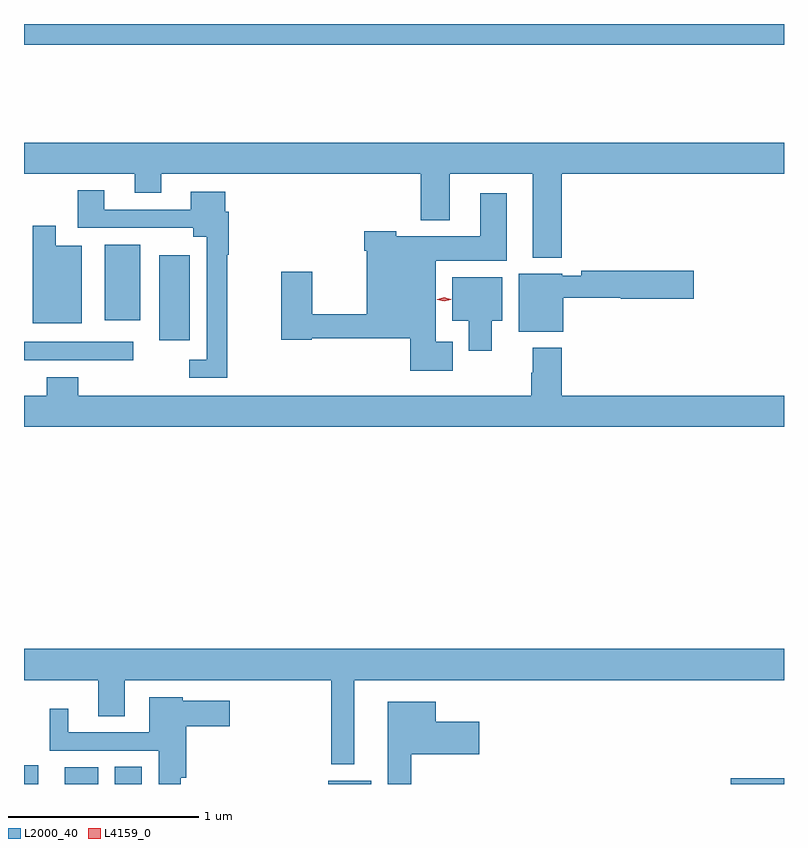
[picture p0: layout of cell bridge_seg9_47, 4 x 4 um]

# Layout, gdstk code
import gdstk
lib = gdstk.Library(unit=1e-6, precision=1e-09)
def R(c, l, rs):  # rectangles x0, y0, x1, y1
    for r in rs: c.add(gdstk.rectangle(r[:2], r[2:], *l))
def P(c, l, *ps):  # polygons
    for p in ps: c.add(gdstk.Polygon(p, *l))
L2000_40 = (2000, 40)
L4159_0 = (4159, 0)

bridge_seg9_47 = lib.new_cell('bridge_seg9_47')
R(bridge_seg9_47, L2000_40, [(909.46,1201.201,909.535,1201.3), (909.674,1201.201,909.85,1201.288), (909.938,1201.201,910.081,1201.292), (911.06,1201.201,911.287,1201.219), (913.181,1201.201,913.46,1201.232), (909.46,1203.432,910.036,1203.528), (910.172,1203.537,910.333,1203.985), (909.884,1203.641,910.072,1204.039), (909.46,1205.092,913.46,1205.201)])
P(bridge_seg9_47, L2000_40, [(912.29,1204.412),(913.46,1204.412),(913.46,1204.576),(909.46,1204.576),(909.46,1204.412),(910.043,1204.412),(910.043,1204.313),(910.183,1204.313),(910.183,1204.412),(911.549,1204.412),(911.549,1204.169),(911.701,1204.169),(911.701,1204.412),(912.137,1204.412),(912.137,1203.971),(912.29,1203.971)],
  [(910.531,1203.986),(910.538,1203.986),(910.538,1204.214),(910.519,1204.214),(910.519,1204.318),(910.337,1204.318),(910.337,1204.224),(909.883,1204.224),(909.883,1204.327),(909.743,1204.327),(909.743,1204.128),(910.352,1204.128),(910.352,1204.082),(910.422,1204.082),(910.422,1203.435),(910.329,1203.435),(910.329,1203.339),(910.531,1203.339)],
  [(911.716,1203.529),(911.626,1203.529),(911.626,1203.956),(912.001,1203.956),(912.001,1204.309),(911.861,1204.309),(911.861,1204.084),(911.418,1204.084),(911.418,1204.111),(911.252,1204.111),(911.252,1204.007),(911.264,1204.007),(911.264,1203.674),(910.978,1203.674),(910.978,1203.898),(910.813,1203.898),(910.813,1203.538),(910.974,1203.538),(910.974,1203.546),(911.492,1203.546),(911.492,1203.377),(911.716,1203.377)],
  [(909.763,1204.033),(909.628,1204.033),(909.628,1204.138),(909.506,1204.138),(909.506,1203.626),(909.763,1203.626)],
  [(912.298,1203.76),(912.6,1203.76),(912.6,1203.755),(912.985,1203.755),(912.985,1203.902),(912.394,1203.902),(912.394,1203.876),(912.294,1203.876),(912.294,1203.886),(912.065,1203.886),(912.065,1203.581),(912.298,1203.581)],
  [(911.923,1203.638),(911.977,1203.638),(911.977,1203.868),(911.714,1203.868),(911.714,1203.638),(911.801,1203.638),(911.801,1203.48),(911.923,1203.48)],
  [(913.46,1203.244),(912.29,1203.244),(912.29,1203.496),(912.137,1203.496),(912.137,1203.365),(912.13,1203.365),(912.13,1203.244),(909.746,1203.244),(909.746,1203.343),(909.581,1203.343),(909.581,1203.244),(909.46,1203.244),(909.46,1203.08),(913.46,1203.08)],
  [(911.197,1201.748),(913.46,1201.748),(913.46,1201.912),(909.46,1201.912),(909.46,1201.748),(909.851,1201.748),(909.851,1201.558),(909.991,1201.558),(909.991,1201.748),(911.076,1201.748),(911.076,1201.304),(911.197,1201.304)],
  [(910.286,1201.235),(910.313,1201.235),(910.313,1201.505),(910.543,1201.505),(910.543,1201.639),(910.296,1201.639),(910.296,1201.657),(910.118,1201.657),(910.118,1201.473),(909.694,1201.473),(909.694,1201.597),(909.596,1201.597),(909.596,1201.377),(910.17,1201.377),(910.17,1201.201),(910.286,1201.201)],
  [(911.497,1201.358),(911.857,1201.358),(911.857,1201.528),(911.626,1201.528),(911.626,1201.633),(911.375,1201.633),(911.375,1201.201),(911.497,1201.201)])
P(bridge_seg9_47, L4159_0, [(911.671,1203.742),(911.634,1203.751),(911.634,1203.751),(911.634,1203.752),(911.671,1203.762),(911.707,1203.752),(911.708,1203.752),(911.707,1203.751)])

lib.write_gds('bridge_seg9_47.gds')
